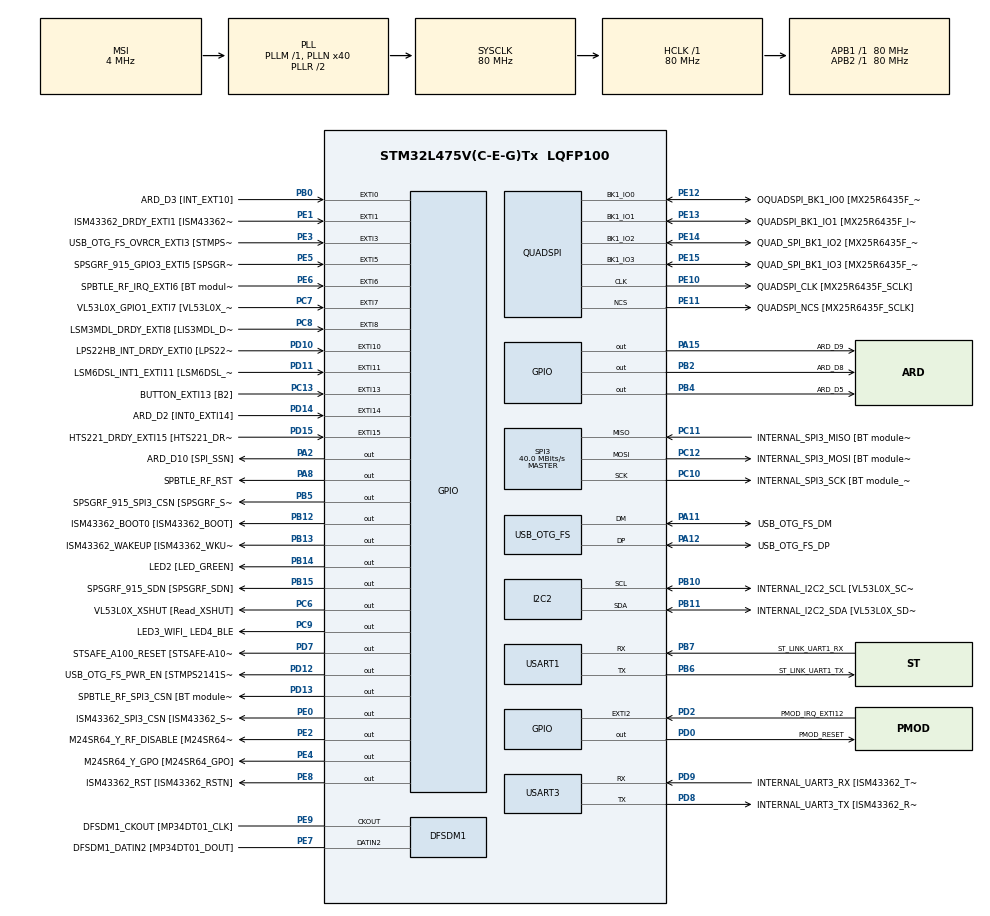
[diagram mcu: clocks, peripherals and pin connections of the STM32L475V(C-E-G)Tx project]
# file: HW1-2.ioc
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FREERTOS.BinarySemaphores01=myBinarySem01,Dynamic,NULL,Depleted;myBinarySem02,Dynamic,NULL,Depleted
FREERTOS.Mutexes01=myMutex01,Dynamic,NULL,Available
FREERTOS.Tasks01=myTask01,46,128,StartTask01,Default,NULL,Dynamic,NULL,NULL;myTask02,47,128,StartTask02,Default,NULL,Dynamic,NULL,NULL
I2C2.Timing=0x10D19CE4
Mcu.Family=STM32L4
Mcu.Name=STM32L475V(C-E-G)Tx
Mcu.Package=LQFP100
NVIC.EXTI15_10_IRQn=true\:5\:0\:false\:false\:true\:true\:true\:true\:true
NVIC.EXTI9_5_IRQn=true\:5\:0\:false\:false\:true\:true\:true\:true\:true
NVIC.PriorityGroup=NVIC_PRIORITYGROUP_4
NVIC.TIM3_IRQn=true\:5\:0\:false\:false\:true\:true\:true\:true\:true
PA0.GPIO_Label=ARD_D1 [UART4_TX]
PA0.Signal=UART4_TX
PA1.GPIO_Label=ARD_D0 [UART4_RX]
PA1.Signal=UART4_RX
PA10.GPIO_Label=USB_OTG_FS_ID
PA10.Signal=USB_OTG_FS_ID
PA11.GPIO_Label=USB_OTG_FS_DM
PA11.Mode=Device_Only
PA11.Signal=USB_OTG_FS_DM
PA12.GPIO_Label=USB_OTG_FS_DP
PA12.Mode=Device_Only
PA12.Signal=USB_OTG_FS_DP
PA13\ (JTMS-SWDIO).GPIO_Label=SYS_JTMS_SWDIO
PA13\ (JTMS-SWDIO).Mode=Serial_Wire
PA13\ (JTMS-SWDIO).Signal=SYS_JTMS-SWDIO
PA14\ (JTCK-SWCLK).GPIO_Label=SYS_JTCK_SWCLK
PA14\ (JTCK-SWCLK).Mode=Serial_Wire
PA14\ (JTCK-SWCLK).Signal=SYS_JTCK-SWCLK
PA15\ (JTDI).GPIO_Label=ARD_D9
PA15\ (JTDI).Signal=GPIO_Output
PA2.GPIO_Label=ARD_D10 [SPI_SSN]
PA2.Signal=GPIO_Output
PA3.GPIO_Label=ARD_D4
PA3.Signal=S_TIM2_CH4
PA4.GPIO_Label=ARD_D7
PA4.Signal=ADCx_IN9
PA5.GPIO_Label=ARD_D13 [SPI1_SCK]
PA5.Signal=SPI1_SCK
PA6.GPIO_Label=ARD_D12 [SPI1_MISO]
PA6.Signal=SPI1_MISO
PA7.GPIO_Label=ARD_D11 [SPI1_MOSI]
PA7.Signal=SPI1_MOSI
PA8.GPIO_Label=SPBTLE_RF_RST
PA8.Signal=GPIO_Output
PA9.GPIO_Label=USB_OTG_FS_VBUS [STMPS2141STR_OUT]
PA9.Signal=USB_OTG_FS_VBUS
PB0.GPIO_Label=ARD_D3 [INT_EXT10]
PB0.Signal=GPXTI0
PB1.GPIO_Label=ARD_D6 [ADC1_IN6]
PB1.Signal=ADCx_IN16
PB10.GPIO_Label=INTERNAL_I2C2_SCL [VL53L0X_SCL]
PB10.GPIO_Pu=GPIO_PULLUP
PB10.Mode=I2C
PB10.Signal=I2C2_SCL
PB11.GPIO_Label=INTERNAL_I2C2_SDA [VL53L0X_SDA]
PB11.GPIO_Pu=GPIO_PULLUP
PB11.Mode=I2C
PB11.Signal=I2C2_SDA
PB12.GPIO_Label=ISM43362_BOOT0 [ISM43362_BOOT]
PB12.Signal=GPIO_Output
PB13.GPIO_Label=ISM43362_WAKEUP [ISM43362_WKUP]
PB13.Signal=GPIO_Output
PB14.GPIO_Label=LED2 [LED_GREEN]
PB14.Signal=GPIO_Output
PB15.GPIO_Label=SPSGRF_915_SDN [SPSGRF_SDN]
PB15.Signal=GPIO_Output
PB2.GPIO_Label=ARD_D8
PB2.Signal=GPIO_Output
PB3\ (JTDO-TRACESWO).GPIO_Label=SYS_JTD0_SWO
PB3\ (JTDO-TRACESWO).Signal=SYS_JTDO-SWO
PB4\ (NJTRST).GPIO_Label=ARD_D5
PB4\ (NJTRST).Signal=GPIO_Output
PB5.GPIO_Label=SPSGRF_915_SPI3_CSN [SPSGRF_SPI_CS]
PB5.PinState=GPIO_PIN_SET
PB5.Signal=GPIO_Output
PB6.GPIO_Label=ST_LINK_UART1_TX
PB6.Mode=Asynchronous
PB6.Signal=USART1_TX
PB7.GPIO_Label=ST_LINK_UART1_RX
PB7.Mode=Asynchronous
PB7.Signal=USART1_RX
PB8.GPIO_Label=ARD_D15 [I2C1_SCL]
PB8.Signal=I2C1_SCL
PB9.GPIO_Label=ARD_D14 [I2C1_SDA]
PB9.Signal=I2C1_SDA
PC0.GPIO_Label=ARD_A5 [ADC]
PC0.Signal=ADCx_IN1
PC1.GPIO_Label=ARD_A4 [ADC]
PC1.Signal=ADCx_IN2
PC10.GPIO_Label=INTERNAL_SPI3_SCK [BT module_SPI_SCLK] [ISM43362_SCK]
PC10.Mode=Full_Duplex_Master
PC10.Signal=SPI3_SCK
PC11.GPIO_Label=INTERNAL_SPI3_MISO [BT module_SPI_MISO] [ISM43362_MISO]
PC11.Mode=Full_Duplex_Master
PC11.Signal=SPI3_MISO
PC12.GPIO_Label=INTERNAL_SPI3_MOSI [BT module_SPI_MOSI] [ISM43362_MOSI]
PC12.Mode=Full_Duplex_Master
PC12.Signal=SPI3_MOSI
PC13.GPIO_Label=BUTTON_EXTI13 [B2]
PC13.GPIO_ModeDefaultEXTI=GPIO_MODE_IT_FALLING
PC13.Signal=GPXTI13
PC14-OSC32_IN\ (PC14).Mode=LSE-External-Oscillator
PC14-OSC32_IN\ (PC14).Signal=RCC_OSC32_IN
PC15-OSC32_OUT\ (PC15).Mode=LSE-External-Oscillator
PC15-OSC32_OUT\ (PC15).Signal=RCC_OSC32_OUT
PC2.GPIO_Label=ARD_A3 [ADC]
PC2.Signal=ADCx_IN3
PC3.GPIO_Label=ARD_A2 [ADC]
PC3.Signal=ADCx_IN4
PC4.GPIO_Label=ARD_A1 [ADC]
PC4.Signal=ADCx_IN13
PC5.GPIO_Label=ARD_A0 [ADC]
PC5.Signal=ADCx_IN14
PC6.GPIO_Label=VL53L0X_XSHUT [Read_XSHUT]
PC6.Signal=GPIO_Output
PC7.GPIO_Label=VL53L0X_GPIO1_EXTI7 [VL53L0X_GPIO1]
PC7.Signal=GPXTI7
PC8.GPIO_Label=LSM3MDL_DRDY_EXTI8 [LIS3MDL_DRDY]
PC8.Signal=GPXTI8
PC9.GPIO_Label=LED3_WIFI_ LED4_BLE
PC9.Signal=GPIO_Output
PD0.GPIO_Label=PMOD_RESET
PD0.Signal=GPIO_Output
PD1.GPIO_Label=PMOD_SPI2_SCK
PD1.Signal=SPI2_SCK
PD10.GPIO_Label=LPS22HB_INT_DRDY_EXTI0 [LPS22HB_INT_DRDY] 
PD10.Signal=GPXTI10
PD11.GPIO_Label=LSM6DSL_INT1_EXTI11 [LSM6DSL_INT1]
PD11.Signal=GPXTI11
PD12.GPIO_Label=USB_OTG_FS_PWR_EN [STMPS2141STR_EN]
PD12.Signal=GPIO_Output
PD13.GPIO_Label=SPBTLE_RF_SPI3_CSN [BT module_SPI_CS]
PD13.PinState=GPIO_PIN_SET
PD13.Signal=GPIO_Output
PD14.GPIO_Label=ARD_D2 [INT0_EXTI14]
PD14.Signal=GPXTI14
PD15.GPIO_Label=HTS221_DRDY_EXTI15 [HTS221_DRDY]
PD15.Signal=GPXTI15
PD2.GPIO_Label=PMOD_IRQ_EXTI12
PD2.Signal=GPXTI2
PD3.GPIO_Label=PMOD_UART2_CTS
PD3.Signal=USART2_CTS
PD4.GPIO_Label=PMOD_UART2_RTS
PD4.Signal=USART2_RTS
PD5.GPIO_Label=PMOD_UART2_TX
PD5.Signal=USART2_TX
PD6.GPIO_Label=PMOD_UART2_RX
PD6.Signal=USART2_RX
PD7.GPIO_Label=STSAFE_A100_RESET [STSAFE-A100_RESET]
PD7.Signal=GPIO_Output
PD8.GPIO_Label=INTERNAL_UART3_TX [ISM43362_RX]
PD8.Mode=Asynchronous
PD8.Signal=USART3_TX
PD9.GPIO_Label=INTERNAL_UART3_RX [ISM43362_TX]
PD9.Mode=Asynchronous
PD9.Signal=USART3_RX
PE0.GPIO_Label=ISM43362_SPI3_CSN [ISM43362_SSN]
PE0.PinState=GPIO_PIN_SET
PE0.Signal=GPIO_Output
PE1.GPIO_Label=ISM43362_DRDY_EXTI1 [ISM43362_DATARDY]
PE1.Signal=GPXTI1
PE10.GPIO_Label=QUADSPI_CLK [MX25R6435F_SCLK]
PE10.Mode=Single Bank
PE10.Signal=QUADSPI_CLK
PE11.GPIO_Label=QUADSPI_NCS [MX25R6435F_SCLK]
PE11.Mode=Single Bank
PE11.Signal=QUADSPI_NCS
PE12.GPIO_Label=OQUADSPI_BK1_IO0 [MX25R6435F_IO0]
PE12.Mode=Single Bank
PE12.Signal=QUADSPI_BK1_IO0
PE13.GPIO_Label=QUADSPI_BK1_IO1 [MX25R6435F_IO1]
PE13.Mode=Single Bank
PE13.Signal=QUADSPI_BK1_IO1
PE14.GPIO_Label=QUAD_SPI_BK1_IO2 [MX25R6435F_IO2]
PE14.Mode=Single Bank
PE14.Signal=QUADSPI_BK1_IO2
PE15.GPIO_Label=QUAD_SPI_BK1_IO3 [MX25R6435F_IO3]
PE15.Mode=Single Bank
PE15.Signal=QUADSPI_BK1_IO3
PE2.GPIO_Label=M24SR64_Y_RF_DISABLE [M24SR64_RFDIS]
PE2.Signal=GPIO_Output
PE3.GPIO_Label=USB_OTG_FS_OVRCR_EXTI3 [STMPS2141STR_FAULT]
PE3.Signal=GPXTI3
PE4.GPIO_Label=M24SR64_Y_GPO [M24SR64_GPO]
PE4.Signal=GPIO_Output
PE5.GPIO_Label=SPSGRF_915_GPIO3_EXTI5 [SPSGRF_GPIO_3]
PE5.Signal=GPXTI5
PE6.GPIO_Label=SPBTLE_RF_IRQ_EXTI6 [BT module_SPI_IRQ]
PE6.Signal=GPXTI6
PE7.GPIO_Label=DFSDM1_DATIN2 [MP34DT01_DOUT]
PE7.Signal=S_DATAIN2DFSDM1
PE8.GPIO_Label=ISM43362_RST [ISM43362_RSTN]
PE8.Signal=GPIO_Output
PE9.GPIO_Label=DFSDM1_CKOUT [MP34DT01_CLK]
PE9.Signal=S_CKOUTDFSDM1
ProjectManager.HeapSize=0x200
ProjectManager.StackSize=0x400
ProjectManager.TargetToolchain=STM32CubeIDE
QUADSPI.ClockPrescaler=2
QUADSPI.FifoThreshold=4
QUADSPI.FlashSize=23
QUADSPI.SampleShifting=QSPI_SAMPLE_SHIFTING_HALFCYCLE
RCC.ADCFreq_Value=48000000
RCC.AHBFreq_Value=80000000
RCC.APB1Freq_Value=80000000
RCC.APB1TimFreq_Value=80000000
RCC.APB2Freq_Value=80000000
RCC.APB2TimFreq_Value=80000000
RCC.CortexFreq_Value=80000000
RCC.HCLKFreq_Value=80000000
RCC.HSE_VALUE=8000000
RCC.HSI_VALUE=16000000
RCC.MSI_VALUE=4000000
RCC.PLLN=40
RCC.PLLSAI1N=24
RCC.SYSCLKFreq_VALUE=80000000
RCC.SYSCLKSource=RCC_SYSCLKSOURCE_PLLCLK
RCC.USBFreq_Value=48000000
RCC.VCOOutputFreq_Value=160000000
SH.ADCx_IN1.0=ADC1_IN1
SH.ADCx_IN13.0=ADC1_IN13
SH.ADCx_IN14.0=ADC1_IN14
SH.ADCx_IN16.0=ADC1_IN16
SH.ADCx_IN2.0=ADC1_IN2
SH.ADCx_IN3.0=ADC1_IN3
SH.ADCx_IN4.0=ADC1_IN4
SH.ADCx_IN9.0=ADC1_IN9
SH.S_CKOUTDFSDM1.0=DFSDM1_CKOUT,CKOUT
SH.S_CKOUTDFSDM1.1=DFSDM1_CKOUT,PDM_SPI_Input_from_ch12_and_Internal_Clock
SH.S_DATAIN2DFSDM1.0=DFSDM1_DATIN2,PDM_SPI_Input_from_ch12_and_Internal_Clock
SH.S_TIM2_CH4.0=TIM2_CH4
SPI3.CalculateBaudRate=40.0 MBits/s
SPI3.Direction=SPI_DIRECTION_2LINES
SPI3.Mode=SPI_MODE_MASTER
SPI3.VirtualType=VM_MASTER
TIM3.AutoReloadPreload=TIM_AUTORELOAD_PRELOAD_ENABLE
TIM3.Period=12800
TIM3.Prescaler=62499
USART1.VirtualMode-Asynchronous=VM_ASYNC
USART3.VirtualMode-Asynchronous=VM_ASYNC
USB_OTG_FS.VirtualMode=Device_Only
VP_FREERTOS_VS_CMSIS_V2.Mode=CMSIS_V2
VP_TIM3_VS_ClockSourceINT.Mode=Internal
board=B-L475E-IOT01A2

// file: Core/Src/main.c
/* USER CODE BEGIN Header */
/**
  ******************************************************************************
  * @file           : main.c
  * @brief          : Main program body
  ******************************************************************************
  * @attention
  *
  * Copyright (c) 2024 STMicroelectronics.
  * All rights reserved.
  *
  * This software is licensed under terms that can be found in the LICENSE file
  * in the root directory of this software component.
  * If no LICENSE file comes with this software, it is provided AS-IS.
  *
  ******************************************************************************
  */
/* USER CODE END Header */
#include "main.h"
#include "cmsis_os.h"

DFSDM_Channel_HandleTypeDef hdfsdm1_channel1;

I2C_HandleTypeDef hi2c2;

QSPI_HandleTypeDef hqspi;

SPI_HandleTypeDef hspi3;

TIM_HandleTypeDef htim3;

UART_HandleTypeDef huart1;
UART_HandleTypeDef huart3;

PCD_HandleTypeDef hpcd_USB_OTG_FS;

/* Definitions for myTask01 */
osThreadId_t myTask01Handle;
const osThreadAttr_t myTask01_attributes = {
  .name = "myTask01",
  .stack_size = 128 * 4,
  .priority = (osPriority_t) osPriorityHigh6,
};
/* Definitions for myTask02 */
osThreadId_t myTask02Handle;
const osThreadAttr_t myTask02_attributes = {
  .name = "myTask02",
  .stack_size = 128 * 4,
  .priority = (osPriority_t) osPriorityHigh7,
};
/* Definitions for myMutex01 */
osMutexId_t myMutex01Handle;
const osMutexAttr_t myMutex01_attributes = {
  .name = "myMutex01"
};
/* Definitions for myBinarySem01 */
osSemaphoreId_t myBinarySem01Handle;
const osSemaphoreAttr_t myBinarySem01_attributes = {
  .name = "myBinarySem01"
};
/* Definitions for myBinarySem02 */
osSemaphoreId_t myBinarySem02Handle;
const osSemaphoreAttr_t myBinarySem02_attributes = {
  .name = "myBinarySem02"
};

void SystemClock_Config(void);
static void MX_GPIO_Init(void);
static void MX_DFSDM1_Init(void);
static void MX_I2C2_Init(void);
static void MX_QUADSPI_Init(void);
static void MX_SPI3_Init(void);
static void MX_USART1_UART_Init(void);
static void MX_USART3_UART_Init(void);
static void MX_USB_OTG_FS_PCD_Init(void);
static void MX_TIM3_Init(void);
void StartTask01(void *argument);
void StartTask02(void *argument);

int main(void)
{

  /* MCU Configuration--------------------------------------------------------*/

  /* Reset of all peripherals, Initializes the Flash interface and the Systick. */
  HAL_Init();

  /* Configure the system clock */
  SystemClock_Config();

  /* Initialize all configured peripherals */
  MX_GPIO_Init();
  MX_DFSDM1_Init();
  MX_I2C2_Init();
  MX_QUADSPI_Init();
  MX_SPI3_Init();
  MX_USART1_UART_Init();
  MX_USART3_UART_Init();
  MX_USB_OTG_FS_PCD_Init();
  MX_TIM3_Init();

  /* Init scheduler */
  osKernelInitialize();
  /* Create the mutex(es) */
  /* creation of myMutex01 */
  myMutex01Handle = osMutexNew(&myMutex01_attributes);

  /* Create the semaphores(s) */
  /* creation of myBinarySem01 */
  myBinarySem01Handle = osSemaphoreNew(1, 0, &myBinarySem01_attributes);

  /* creation of myBinarySem02 */
  myBinarySem02Handle = osSemaphoreNew(1, 0, &myBinarySem02_attributes);

  /* USER CODE BEGIN RTOS_TIMERS */
  /* start timers, add new ones, ... */
  HAL_TIM_Base_Start_IT(&htim3);
  /* USER CODE END RTOS_TIMERS */

  /* Create the thread(s) */
  /* creation of myTask01 */
  myTask01Handle = osThreadNew(StartTask01, NULL, &myTask01_attributes);

  /* creation of myTask02 */
  myTask02Handle = osThreadNew(StartTask02, NULL, &myTask02_attributes);

  /* Start scheduler */
  osKernelStart();

  /* We should never get here as control is now taken by the scheduler */

  /* Infinite loop */
  while (1)
  {

  }
}

void SystemClock_Config(void)
{
  RCC_OscInitTypeDef RCC_OscInitStruct = {0};
  RCC_ClkInitTypeDef RCC_ClkInitStruct = {0};

  /** Configure the main internal regulator output voltage
  */
  if (HAL_PWREx_ControlVoltageScaling(PWR_REGULATOR_VOLTAGE_SCALE1) != HAL_OK)
  {
    Error_Handler();
  }

  /** Configure LSE Drive Capability
  */
  HAL_PWR_EnableBkUpAccess();
  __HAL_RCC_LSEDRIVE_CONFIG(RCC_LSEDRIVE_LOW);

  /** Initializes the RCC Oscillators according to the specified parameters
  * in the RCC_OscInitTypeDef structure.
  */
  RCC_OscInitStruct.OscillatorType = RCC_OSCILLATORTYPE_LSE|RCC_OSCILLATORTYPE_MSI;
  RCC_OscInitStruct.LSEState = RCC_LSE_ON;
  RCC_OscInitStruct.MSIState = RCC_MSI_ON;
  RCC_OscInitStruct.MSICalibrationValue = 0;
  RCC_OscInitStruct.MSIClockRange = RCC_MSIRANGE_6;
  RCC_OscInitStruct.PLL.PLLState = RCC_PLL_ON;
  RCC_OscInitStruct.PLL.PLLSource = RCC_PLLSOURCE_MSI;
  RCC_OscInitStruct.PLL.PLLM = 1;
  RCC_OscInitStruct.PLL.PLLN = 40;
  RCC_OscInitStruct.PLL.PLLP = RCC_PLLP_DIV7;
  RCC_OscInitStruct.PLL.PLLQ = RCC_PLLQ_DIV2;
  RCC_OscInitStruct.PLL.PLLR = RCC_PLLR_DIV2;
  if (HAL_RCC_OscConfig(&RCC_OscInitStruct) != HAL_OK)
  {
    Error_Handler();
  }

  /** Initializes the CPU, AHB and APB buses clocks
  */
  RCC_ClkInitStruct.ClockType = RCC_CLOCKTYPE_HCLK|RCC_CLOCKTYPE_SYSCLK
                              |RCC_CLOCKTYPE_PCLK1|RCC_CLOCKTYPE_PCLK2;
  RCC_ClkInitStruct.SYSCLKSource = RCC_SYSCLKSOURCE_PLLCLK;
  RCC_ClkInitStruct.AHBCLKDivider = RCC_SYSCLK_DIV1;
  RCC_ClkInitStruct.APB1CLKDivider = RCC_HCLK_DIV1;
  RCC_ClkInitStruct.APB2CLKDivider = RCC_HCLK_DIV1;

  if (HAL_RCC_ClockConfig(&RCC_ClkInitStruct, FLASH_LATENCY_4) != HAL_OK)
  {
    Error_Handler();
  }

  /** Enable MSI Auto calibration
  */
  HAL_RCCEx_EnableMSIPLLMode();
}

static void MX_DFSDM1_Init(void)
{

  hdfsdm1_channel1.Instance = DFSDM1_Channel1;
  hdfsdm1_channel1.Init.OutputClock.Activation = ENABLE;
  hdfsdm1_channel1.Init.OutputClock.Selection = DFSDM_CHANNEL_OUTPUT_CLOCK_SYSTEM;
  hdfsdm1_channel1.Init.OutputClock.Divider = 2;
  hdfsdm1_channel1.Init.Input.Multiplexer = DFSDM_CHANNEL_EXTERNAL_INPUTS;
  hdfsdm1_channel1.Init.Input.DataPacking = DFSDM_CHANNEL_STANDARD_MODE;
  hdfsdm1_channel1.Init.Input.Pins = DFSDM_CHANNEL_FOLLOWING_CHANNEL_PINS;
  hdfsdm1_channel1.Init.SerialInterface.Type = DFSDM_CHANNEL_SPI_RISING;
  hdfsdm1_channel1.Init.SerialInterface.SpiClock = DFSDM_CHANNEL_SPI_CLOCK_INTERNAL;
  hdfsdm1_channel1.Init.Awd.FilterOrder = DFSDM_CHANNEL_FASTSINC_ORDER;
  hdfsdm1_channel1.Init.Awd.Oversampling = 1;
  hdfsdm1_channel1.Init.Offset = 0;
  hdfsdm1_channel1.Init.RightBitShift = 0x00;
  if (HAL_DFSDM_ChannelInit(&hdfsdm1_channel1) != HAL_OK)
  {
    Error_Handler();
  }

}

static void MX_I2C2_Init(void)
{

  hi2c2.Instance = I2C2;
  hi2c2.Init.Timing = 0x10D19CE4;
  hi2c2.Init.OwnAddress1 = 0;
  hi2c2.Init.AddressingMode = I2C_ADDRESSINGMODE_7BIT;
  hi2c2.Init.DualAddressMode = I2C_DUALADDRESS_DISABLE;
  hi2c2.Init.OwnAddress2 = 0;
  hi2c2.Init.OwnAddress2Masks = I2C_OA2_NOMASK;
  hi2c2.Init.GeneralCallMode = I2C_GENERALCALL_DISABLE;
  hi2c2.Init.NoStretchMode = I2C_NOSTRETCH_DISABLE;
  if (HAL_I2C_Init(&hi2c2) != HAL_OK)
  {
    Error_Handler();
  }

  /** Configure Analogue filter
  */
  if (HAL_I2CEx_ConfigAnalogFilter(&hi2c2, I2C_ANALOGFILTER_ENABLE) != HAL_OK)
  {
    Error_Handler();
  }

  /** Configure Digital filter
  */
  if (HAL_I2CEx_ConfigDigitalFilter(&hi2c2, 0) != HAL_OK)
  {
    Error_Handler();
  }

}

static void MX_QUADSPI_Init(void)
{

  /* QUADSPI parameter configuration*/
  hqspi.Instance = QUADSPI;
  hqspi.Init.ClockPrescaler = 2;
  hqspi.Init.FifoThreshold = 4;
  hqspi.Init.SampleShifting = QSPI_SAMPLE_SHIFTING_HALFCYCLE;
  hqspi.Init.FlashSize = 23;
  hqspi.Init.ChipSelectHighTime = QSPI_CS_HIGH_TIME_1_CYCLE;
  hqspi.Init.ClockMode = QSPI_CLOCK_MODE_0;
  if (HAL_QSPI_Init(&hqspi) != HAL_OK)
  {
    Error_Handler();
  }

}

static void MX_SPI3_Init(void)
{

  /* SPI3 parameter configuration*/
  hspi3.Instance = SPI3;
  hspi3.Init.Mode = SPI_MODE_MASTER;
  hspi3.Init.Direction = SPI_DIRECTION_2LINES;
  hspi3.Init.DataSize = SPI_DATASIZE_4BIT;
  hspi3.Init.CLKPolarity = SPI_POLARITY_LOW;
  hspi3.Init.CLKPhase = SPI_PHASE_1EDGE;
  hspi3.Init.NSS = SPI_NSS_SOFT;
  hspi3.Init.BaudRatePrescaler = SPI_BAUDRATEPRESCALER_2;
  hspi3.Init.FirstBit = SPI_FIRSTBIT_MSB;
  hspi3.Init.TIMode = SPI_TIMODE_DISABLE;
  hspi3.Init.CRCCalculation = SPI_CRCCALCULATION_DISABLE;
  hspi3.Init.CRCPolynomial = 7;
  hspi3.Init.CRCLength = SPI_CRC_LENGTH_DATASIZE;
  hspi3.Init.NSSPMode = SPI_NSS_PULSE_ENABLE;
  if (HAL_SPI_Init(&hspi3) != HAL_OK)
  {
    Error_Handler();
  }

}

static void MX_TIM3_Init(void)
{

  TIM_ClockConfigTypeDef sClockSourceConfig = {0};
  TIM_MasterConfigTypeDef sMasterConfig = {0};

  htim3.Instance = TIM3;
  htim3.Init.Prescaler = 62499;
  htim3.Init.CounterMode = TIM_COUNTERMODE_UP;
  htim3.Init.Period = 12800;
  htim3.Init.ClockDivision = TIM_CLOCKDIVISION_DIV1;
  htim3.Init.AutoReloadPreload = TIM_AUTORELOAD_PRELOAD_ENABLE;
  if (HAL_TIM_Base_Init(&htim3) != HAL_OK)
  {
    Error_Handler();
  }
  sClockSourceConfig.ClockSource = TIM_CLOCKSOURCE_INTERNAL;
  if (HAL_TIM_ConfigClockSource(&htim3, &sClockSourceConfig) != HAL_OK)
  {
    Error_Handler();
  }
  sMasterConfig.MasterOutputTrigger = TIM_TRGO_RESET;
  sMasterConfig.MasterSlaveMode = TIM_MASTERSLAVEMODE_DISABLE;
  if (HAL_TIMEx_MasterConfigSynchronization(&htim3, &sMasterConfig) != HAL_OK)
  {
    Error_Handler();
  }

}

static void MX_USART1_UART_Init(void)
{

  huart1.Instance = USART1;
  huart1.Init.BaudRate = 115200;
  huart1.Init.WordLength = UART_WORDLENGTH_8B;
  huart1.Init.StopBits = UART_STOPBITS_1;
  huart1.Init.Parity = UART_PARITY_NONE;
  huart1.Init.Mode = UART_MODE_TX_RX;
  huart1.Init.HwFlowCtl = UART_HWCONTROL_NONE;
  huart1.Init.OverSampling = UART_OVERSAMPLING_16;
  huart1.Init.OneBitSampling = UART_ONE_BIT_SAMPLE_DISABLE;
  huart1.AdvancedInit.AdvFeatureInit = UART_ADVFEATURE_NO_INIT;
  if (HAL_UART_Init(&huart1) != HAL_OK)
  {
    Error_Handler();
  }

}

static void MX_USART3_UART_Init(void)
{

  huart3.Instance = USART3;
  huart3.Init.BaudRate = 115200;
  huart3.Init.WordLength = UART_WORDLENGTH_8B;
  huart3.Init.StopBits = UART_STOPBITS_1;
  huart3.Init.Parity = UART_PARITY_NONE;
  huart3.Init.Mode = UART_MODE_TX_RX;
  huart3.Init.HwFlowCtl = UART_HWCONTROL_NONE;
  huart3.Init.OverSampling = UART_OVERSAMPLING_16;
  huart3.Init.OneBitSampling = UART_ONE_BIT_SAMPLE_DISABLE;
  huart3.AdvancedInit.AdvFeatureInit = UART_ADVFEATURE_NO_INIT;
  if (HAL_UART_Init(&huart3) != HAL_OK)
  {
    Error_Handler();
  }

}

static void MX_USB_OTG_FS_PCD_Init(void)
{

  hpcd_USB_OTG_FS.Instance = USB_OTG_FS;
  hpcd_USB_OTG_FS.Init.dev_endpoints = 6;
  hpcd_USB_OTG_FS.Init.speed = PCD_SPEED_FULL;
  hpcd_USB_OTG_FS.Init.phy_itface = PCD_PHY_EMBEDDED;
  hpcd_USB_OTG_FS.Init.Sof_enable = DISABLE;
  hpcd_USB_OTG_FS.Init.low_power_enable = DISABLE;
  hpcd_USB_OTG_FS.Init.lpm_enable = DISABLE;
  hpcd_USB_OTG_FS.Init.battery_charging_enable = DISABLE;
  hpcd_USB_OTG_FS.Init.use_dedicated_ep1 = DISABLE;
  hpcd_USB_OTG_FS.Init.vbus_sensing_enable = DISABLE;
  if (HAL_PCD_Init(&hpcd_USB_OTG_FS) != HAL_OK)
  {
    Error_Handler();
  }

}

static void MX_GPIO_Init(void)
{
  GPIO_InitTypeDef GPIO_InitStruct = {0};

  /* GPIO Ports Clock Enable */
  __HAL_RCC_GPIOE_CLK_ENABLE();
  __HAL_RCC_GPIOC_CLK_ENABLE();
  __HAL_RCC_GPIOA_CLK_ENABLE();
  __HAL_RCC_GPIOB_CLK_ENABLE();
  __HAL_RCC_GPIOD_CLK_ENABLE();

  /*Configure GPIO pin Output Level */
  HAL_GPIO_WritePin(GPIOE, M24SR64_Y_RF_DISABLE_Pin|M24SR64_Y_GPO_Pin|ISM43362_RST_Pin, GPIO_PIN_RESET);

  /*Configure GPIO pin Output Level */
  HAL_GPIO_WritePin(GPIOA, ARD_D10_Pin|SPBTLE_RF_RST_Pin|ARD_D9_Pin, GPIO_PIN_RESET);

  /*Configure GPIO pin Output Level */
  HAL_GPIO_WritePin(GPIOB, ARD_D8_Pin|ISM43362_BOOT0_Pin|ISM43362_WAKEUP_Pin|LED2_Pin
                          |SPSGRF_915_SDN_Pin|ARD_D5_Pin, GPIO_PIN_RESET);

  /*Configure GPIO pin Output Level */
  HAL_GPIO_WritePin(GPIOD, USB_OTG_FS_PWR_EN_Pin|PMOD_RESET_Pin|STSAFE_A100_RESET_Pin, GPIO_PIN_RESET);

  /*Configure GPIO pin Output Level */
  HAL_GPIO_WritePin(SPBTLE_RF_SPI3_CSN_GPIO_Port, SPBTLE_RF_SPI3_CSN_Pin, GPIO_PIN_SET);

  /*Configure GPIO pin Output Level */
  HAL_GPIO_WritePin(GPIOC, VL53L0X_XSHUT_Pin|LED3_WIFI__LED4_BLE_Pin, GPIO_PIN_RESET);

  /*Configure GPIO pin Output Level */
  HAL_GPIO_WritePin(SPSGRF_915_SPI3_CSN_GPIO_Port, SPSGRF_915_SPI3_CSN_Pin, GPIO_PIN_SET);

  /*Configure GPIO pin Output Level */
  HAL_GPIO_WritePin(ISM43362_SPI3_CSN_GPIO_Port, ISM43362_SPI3_CSN_Pin, GPIO_PIN_SET);

  /*Configure GPIO pins : M24SR64_Y_RF_DISABLE_Pin M24SR64_Y_GPO_Pin ISM43362_RST_Pin ISM43362_SPI3_CSN_Pin */
  GPIO_InitStruct.Pin = M24SR64_Y_RF_DISABLE_Pin|M24SR64_Y_GPO_Pin|ISM43362_RST_Pin|ISM43362_SPI3_CSN_Pin;
  GPIO_InitStruct.Mode = GPIO_MODE_OUTPUT_PP;
  GPIO_InitStruct.Pull = GPIO_NOPULL;
  GPIO_InitStruct.Speed = GPIO_SPEED_FREQ_LOW;
  HAL_GPIO_Init(GPIOE, &GPIO_InitStruct);

  /*Configure GPIO pins : USB_OTG_FS_OVRCR_EXTI3_Pin SPSGRF_915_GPIO3_EXTI5_Pin SPBTLE_RF_IRQ_EXTI6_Pin ISM43362_DRDY_EXTI1_Pin */
  GPIO_InitStruct.Pin = USB_OTG_FS_OVRCR_EXTI3_Pin|SPSGRF_915_GPIO3_EXTI5_Pin|SPBTLE_RF_IRQ_EXTI6_Pin|ISM43362_DRDY_EXTI1_Pin;
  GPIO_InitStruct.Mode = GPIO_MODE_IT_RISING;
  GPIO_InitStruct.Pull = GPIO_NOPULL;
  HAL_GPIO_Init(GPIOE, &GPIO_InitStruct);

  /*Configure GPIO pin : BUTTON_EXTI13_Pin */
  GPIO_InitStruct.Pin = BUTTON_EXTI13_Pin;
  GPIO_InitStruct.Mode = GPIO_MODE_IT_FALLING;
  GPIO_InitStruct.Pull = GPIO_NOPULL;
  HAL_GPIO_Init(BUTTON_EXTI13_GPIO_Port, &GPIO_InitStruct);

  /*Configure GPIO pins : ARD_A5_Pin ARD_A4_Pin ARD_A3_Pin ARD_A2_Pin
                           ARD_A1_Pin ARD_A0_Pin */
  GPIO_InitStruct.Pin = ARD_A5_Pin|ARD_A4_Pin|ARD_A3_Pin|ARD_A2_Pin
                          |ARD_A1_Pin|ARD_A0_Pin;
  GPIO_InitStruct.Mode = GPIO_MODE_ANALOG_ADC_CONTROL;
  GPIO_InitStruct.Pull = GPIO_NOPULL;
  HAL_GPIO_Init(GPIOC, &GPIO_InitStruct);

  /*Configure GPIO pins : ARD_D1_Pin ARD_D0_Pin */
  GPIO_InitStruct.Pin = ARD_D1_Pin|ARD_D0_Pin;
  GPIO_InitStruct.Mode = GPIO_MODE_AF_PP;
  GPIO_InitStruct.Pull = GPIO_NOPULL;
  GPIO_InitStruct.Speed = GPIO_SPEED_FREQ_VERY_HIGH;
  GPIO_InitStruct.Alternate = GPIO_AF8_UART4;
  HAL_GPIO_Init(GPIOA, &GPIO_InitStruct);

  /*Configure GPIO pins : ARD_D10_Pin SPBTLE_RF_RST_Pin ARD_D9_Pin */
  GPIO_InitStruct.Pin = ARD_D10_Pin|SPBTLE_RF_RST_Pin|ARD_D9_Pin;
  GPIO_InitStruct.Mode = GPIO_MODE_OUTPUT_PP;
  GPIO_InitStruct.Pull = GPIO_NOPULL;
  GPIO_InitStruct.Speed = GPIO_SPEED_FREQ_LOW;
  HAL_GPIO_Init(GPIOA, &GPIO_InitStruct);

  /*Configure GPIO pin : ARD_D4_Pin */
  GPIO_InitStruct.Pin = ARD_D4_Pin;
  GPIO_InitStruct.Mode = GPIO_MODE_AF_PP;
  GPIO_InitStruct.Pull = GPIO_NOPULL;
  GPIO_InitStruct.Speed = GPIO_SPEED_FREQ_LOW;
  GPIO_InitStruct.Alternate = GPIO_AF1_TIM2;
  HAL_GPIO_Init(ARD_D4_GPIO_Port, &GPIO_InitStruct);

  /*Configure GPIO pin : ARD_D7_Pin */
  GPIO_InitStruct.Pin = ARD_D7_Pin;
  GPIO_InitStruct.Mode = GPIO_MODE_ANALOG_ADC_CONTROL;
  GPIO_InitStruct.Pull = GPIO_NOPULL;
  HAL_GPIO_Init(ARD_D7_GPIO_Port, &GPIO_InitStruct);

  /*Configure GPIO pins : ARD_D13_Pin ARD_D12_Pin ARD_D11_Pin */
  GPIO_InitStruct.Pin = ARD_D13_Pin|ARD_D12_Pin|ARD_D11_Pin;
  GPIO_InitStruct.Mode = GPIO_MODE_AF_PP;
  GPIO_InitStruct.Pull = GPIO_NOPULL;
  GPIO_InitStruct.Speed = GPIO_SPEED_FREQ_VERY_HIGH;
  GPIO_InitStruct.Alternate = GPIO_AF5_SPI1;
  HAL_GPIO_Init(GPIOA, &GPIO_InitStruct);

  /*Configure GPIO pin : ARD_D3_Pin */
  GPIO_InitStruct.Pin = ARD_D3_Pin;
  GPIO_InitStruct.Mode = GPIO_MODE_IT_RISING;
  GPIO_InitStruct.Pull = GPIO_NOPULL;
  HAL_GPIO_Init(ARD_D3_GPIO_Port, &GPIO_InitStruct);

  /*Configure GPIO pin : ARD_D6_Pin */
  GPIO_InitStruct.Pin = ARD_D6_Pin;
  GPIO_InitStruct.Mode = GPIO_MODE_ANALOG_ADC_CONTROL;
  GPIO_InitStruct.Pull = GPIO_NOPULL;
  HAL_GPIO_Init(ARD_D6_GPIO_Port, &GPIO_InitStruct);

  /*Configure GPIO pins : ARD_D8_Pin ISM43362_BOOT0_Pin ISM43362_WAKEUP_Pin LED2_Pin
                           SPSGRF_915_SDN_Pin ARD_D5_Pin SPSGRF_915_SPI3_CSN_Pin */
  GPIO_InitStruct.Pin = ARD_D8_Pin|ISM43362_BOOT0_Pin|ISM43362_WAKEUP_Pin|LED2_Pin
                          |SPSGRF_915_SDN_Pin|ARD_D5_Pin|SPSGRF_915_SPI3_CSN_Pin;
  GPIO_InitStruct.Mode = GPIO_MODE_OUTPUT_PP;
  GPIO_InitStruct.Pull = GPIO_NOPULL;
  GPIO_InitStruct.Speed = GPIO_SPEED_FREQ_LOW;
  HAL_GPIO_Init(GPIOB, &GPIO_InitStruct);

  /*Configure GPIO pins : LPS22HB_INT_DRDY_EXTI0_Pin LSM6DSL_INT1_EXTI11_Pin ARD_D2_Pin HTS221_DRDY_EXTI15_Pin
                           PMOD_IRQ_EXTI12_Pin */
  GPIO_InitStruct.Pin = LPS22HB_INT_DRDY_EXTI0_Pin|LSM6DSL_INT1_EXTI11_Pin|ARD_D2_Pin|HTS221_DRDY_EXTI15_Pin
                          |PMOD_IRQ_EXTI12_Pin;
  GPIO_InitStruct.Mode = GPIO_MODE_IT_RISING;
  GPIO_InitStruct.Pull = GPIO_NOPULL;
  HAL_GPIO_Init(GPIOD, &GPIO_InitStruct);

  /*Configure GPIO pins : USB_OTG_FS_PWR_EN_Pin SPBTLE_RF_SPI3_CSN_Pin PMOD_RESET_Pin STSAFE_A100_RESET_Pin */
  GPIO_InitStruct.Pin = USB_OTG_FS_PWR_EN_Pin|SPBTLE_RF_SPI3_CSN_Pin|PMOD_RESET_Pin|STSAFE_A100_RESET_Pin;
  GPIO_InitStruct.Mode = GPIO_MODE_OUTPUT_PP;
  GPIO_InitStruct.Pull = GPIO_NOPULL;
  GPIO_InitStruct.Speed = GPIO_SPEED_FREQ_LOW;
  HAL_GPIO_Init(GPIOD, &GPIO_InitStruct);

  /*Configure GPIO pins : VL53L0X_XSHUT_Pin LED3_WIFI__LED4_BLE_Pin */
  GPIO_InitStruct.Pin = VL53L0X_XSHUT_Pin|LED3_WIFI__LED4_BLE_Pin;
  GPIO_InitStruct.Mode = GPIO_MODE_OUTPUT_PP;
  GPIO_InitStruct.Pull = GPIO_NOPULL;
  GPIO_InitStruct.Speed = GPIO_SPEED_FREQ_LOW;
  HAL_GPIO_Init(GPIOC, &GPIO_InitStruct);

  /*Configure GPIO pins : VL53L0X_GPIO1_EXTI7_Pin LSM3MDL_DRDY_EXTI8_Pin */
  GPIO_InitStruct.Pin = VL53L0X_GPIO1_EXTI7_Pin|LSM3MDL_DRDY_EXTI8_Pin;
  GPIO_InitStruct.Mode = GPIO_MODE_IT_RISING;
  GPIO_InitStruct.Pull = GPIO_NOPULL;
  HAL_GPIO_Init(GPIOC, &GPIO_InitStruct);

  /*Configure GPIO pin : PMOD_SPI2_SCK_Pin */
  GPIO_InitStruct.Pin = PMOD_SPI2_SCK_Pin;
  GPIO_InitStruct.Mode = GPIO_MODE_AF_PP;
  GPIO_InitStruct.Pull = GPIO_NOPULL;
  GPIO_InitStruct.Speed = GPIO_SPEED_FREQ_VERY_HIGH;
  GPIO_InitStruct.Alternate = GPIO_AF5_SPI2;
  HAL_GPIO_Init(PMOD_SPI2_SCK_GPIO_Port, &GPIO_InitStruct);

  /*Configure GPIO pins : PMOD_UART2_CTS_Pin PMOD_UART2_RTS_Pin PMOD_UART2_TX_Pin PMOD_UART2_RX_Pin */
  GPIO_InitStruct.Pin = PMOD_UART2_CTS_Pin|PMOD_UART2_RTS_Pin|PMOD_UART2_TX_Pin|PMOD_UART2_RX_Pin;
  GPIO_InitStruct.Mode = GPIO_MODE_AF_PP;
  GPIO_InitStruct.Pull = GPIO_NOPULL;
  GPIO_InitStruct.Speed = GPIO_SPEED_FREQ_VERY_HIGH;
  GPIO_InitStruct.Alternate = GPIO_AF7_USART2;
  HAL_GPIO_Init(GPIOD, &GPIO_InitStruct);

  /*Configure GPIO pins : ARD_D15_Pin ARD_D14_Pin */
  GPIO_InitStruct.Pin = ARD_D15_Pin|ARD_D14_Pin;
  GPIO_InitStruct.Mode = GPIO_MODE_AF_OD;
  GPIO_InitStruct.Pull = GPIO_NOPULL;
  GPIO_InitStruct.Speed = GPIO_SPEED_FREQ_VERY_HIGH;
  GPIO_InitStruct.Alternate = GPIO_AF4_I2C1;
  HAL_GPIO_Init(GPIOB, &GPIO_InitStruct);

  /* EXTI interrupt init*/
  HAL_NVIC_SetPriority(EXTI9_5_IRQn, 5, 0);
  HAL_NVIC_EnableIRQ(EXTI9_5_IRQn);

  HAL_NVIC_SetPriority(EXTI15_10_IRQn, 5, 0);
  HAL_NVIC_EnableIRQ(EXTI15_10_IRQn);

}

/* USER CODE BEGIN 4 */
void HAL_GPIO_EXTI_Callback(uint16_t GPIO_Pin){
	switch(GPIO_Pin){
	case BUTTON_EXTI13_Pin:
		osSemaphoreRelease(myBinarySem01Handle);
		break;
	default:
		break;
	}
}

void HAL_TIM_PeriodElapsedCallback(TIM_HandleTypeDef *htim) {
	// check if the timer is tim3
  if(htim == &htim3)
  {
	 osSemaphoreRelease(myBinarySem02Handle);
  }
}

/* USER CODE END 4 */

void StartTask01(void *argument)
{
  /* USER CODE BEGIN 5 */
  /* Infinite loop */
  for(;;)
  {
	  osSemaphoreAcquire(myBinarySem01Handle, osWaitForever);  // Wait for button press
	  osMutexAcquire(myMutex01Handle, osWaitForever);  // Take the mutex

	  for (int i = 0; i < 10; i++) {  // Blink at 1Hz for 5 seconds
		  HAL_GPIO_TogglePin(GPIOB, LED2_Pin);
		  osDelay(500);  // 1Hz blinking
	  }

	  osMutexRelease(myMutex01Handle);  // Release the mutex
  }
  /* USER CODE END 5 */
}

void StartTask02(void *argument)
{
  /* USER CODE BEGIN StartTask02 */
  /* Infinite loop */
  for(;;)
  {
	  osSemaphoreAcquire(myBinarySem02Handle, osWaitForever);  // Wait for timer event
	  osMutexAcquire(myMutex01Handle, osWaitForever);  // Take the mutex

	  for (int i = 0; i < 20; i++) {  // Blink at 10Hz for 2 seconds
		  HAL_GPIO_TogglePin(GPIOB, LED2_Pin);
		  osDelay(100);  // 10Hz blinking
	  }

	  osMutexRelease(myMutex01Handle);  // Release the mutex
  }
  /* USER CODE END StartTask02 */
}

void Error_Handler(void)
{
  __disable_irq();
  while (1)
  {
  }
}
